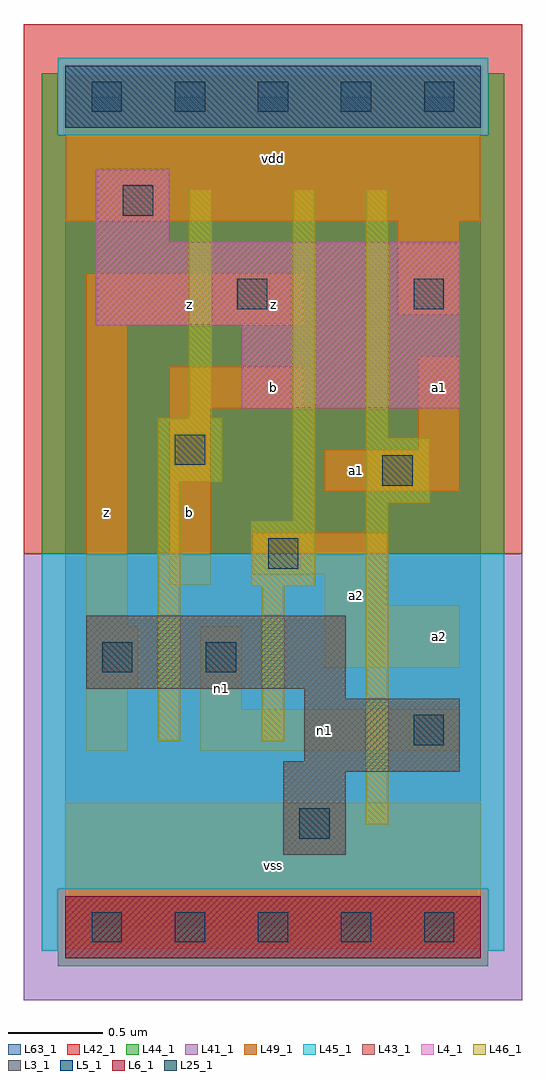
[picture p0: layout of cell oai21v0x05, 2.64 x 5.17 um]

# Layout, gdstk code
import gdstk
lib = gdstk.Library(unit=1e-6, precision=1e-09)
def R(c, l, rs):  # rectangles x0, y0, x1, y1
    for r in rs: c.add(gdstk.rectangle(r[:2], r[2:], *l))
def A(c, l, x, y, w, h, nx, ny, dx, dy):  # array of equal rectangles
    R(c, l, [(x+i*dx, y+j*dy, x+i*dx+w, y+j*dy+h) for i in range(nx) for j in range(ny)])
L3_1 = (3, 1)
L4_1 = (4, 1)
L5_1 = (5, 1)
L6_1 = (6, 1)
L25_1 = (25, 1)
L41_1 = (41, 1)
L42_1 = (42, 1)
L43_1 = (43, 1)
L44_1 = (44, 1)
L45_1 = (45, 1)
L46_1 = (46, 1)
L49_1 = (49, 1)
L63_1 = (63, 1)

oai21v0x05 = lib.new_cell('oai21v0x05')
R(oai21v0x05, L3_1, [(1.155,0.385,1.485,0.825), (1.155,0.825,2.09,0.88), (1.265,0.88,2.09,1.21), (1.265,1.21,1.485,1.265), (0.11,1.265,1.485,1.65)])
R(oai21v0x05, L4_1, [(0.935,2.75,2.09,3.19), (0.165,3.19,2.09,3.63), (0.165,3.63,0.55,4.015)])
R(oai21v0x05, L5_1, [(0,4.235,2.2,4.565)])
R(oai21v0x05, L6_1, [(0,-0.165,2.2,0.165)])
A(oai21v0x05, L25_1, 0.14, -0.08, 0.16, 0.16, 5, 2, 0.44, 4.4)
R(oai21v0x05, L25_1, [(1.24,0.47,1.4,0.63), (1.845,0.965,2.005,1.125), (0.195,1.35,0.355,1.51), (0.745,1.35,0.905,1.51), (1.075,1.9,1.235,2.06), (1.68,2.34,1.84,2.5), (0.58,2.45,0.74,2.61), (0.91,3.275,1.07,3.435), (1.845,3.275,2.005,3.435), (0.305,3.77,0.465,3.93)])
R(oai21v0x05, L41_1, [(-0.22,-0.385,2.42,1.98)])
R(oai21v0x05, L42_1, [(-0.22,1.98,2.42,4.785)])
R(oai21v0x05, L43_1, [(0,-0.165,2.2,0.165), (1.155,0.385,1.485,0.825), (1.155,0.825,2.09,0.88), (1.265,0.88,2.09,1.21), (1.265,1.21,1.485,1.265), (0.11,1.265,1.485,1.65), (0.935,2.75,2.09,3.19), (0.165,3.19,2.09,3.63), (0.165,3.63,0.55,4.015), (0,4.235,2.2,4.565)])
R(oai21v0x05, L44_1, [(-0.04,-0.205,2.24,0.205), (-0.125,1.98,2.325,4.195), (-0.125,4.195,-0.04,4.525), (2.24,4.195,2.325,4.525)])
R(oai21v0x05, L45_1, [(-0.125,-0.125,-0.04,0.205), (2.24,-0.125,2.325,0.205), (-0.125,0.205,2.325,1.98), (-0.04,4.195,2.24,4.605)])
R(oai21v0x05, L46_1, [(1.59,0.545,1.71,2.25), (0.49,0.985,0.61,2.36), (1.04,0.985,1.16,1.81), (0.985,1.81,1.325,2.15), (1.205,2.15,1.325,3.91), (1.59,2.25,1.93,2.59), (0.49,2.36,0.83,2.7), (1.59,2.59,1.71,3.91), (0.655,2.7,0.775,3.91)])
R(oai21v0x05, L49_1, [(0,-0.11,2.2,0.66), (0.11,0.935,0.33,1.265), (0.715,0.935,2.09,1.155), (0.715,1.155,0.935,1.595), (0.11,1.265,0.385,1.595), (1.375,1.375,2.09,1.705), (0.11,1.595,0.33,3.19), (1.375,1.705,1.705,1.87), (0.55,1.815,0.77,2.75), (0.99,1.87,1.705,2.09), (1.375,2.31,2.09,2.53), (1.87,2.53,2.09,3.025), (0.55,2.75,1.265,2.97), (0.11,3.19,1.265,3.465), (1.76,3.245,2.09,3.74), (0,3.74,2.2,4.51)])
R(oai21v0x05, L63_1, [(0,0,2.2,4.4)])
oai21v0x05.add(gdstk.Label('z', (0.22,2.2), layer=49, texttype=1))
oai21v0x05.add(gdstk.Label('n1', (0.825,1.265), layer=49, texttype=1))
oai21v0x05.add(gdstk.Label('b', (0.66,2.2), layer=49, texttype=1))
oai21v0x05.add(gdstk.Label('z', (0.66,3.3), layer=49, texttype=1))
oai21v0x05.add(gdstk.Label('vss', (1.1,0.33), layer=49, texttype=1))
oai21v0x05.add(gdstk.Label('a2', (1.54,1.76), layer=49, texttype=1))
oai21v0x05.add(gdstk.Label('a1', (1.54,2.42), layer=49, texttype=1))
oai21v0x05.add(gdstk.Label('b', (1.1,2.86), layer=49, texttype=1))
oai21v0x05.add(gdstk.Label('z', (1.1,3.3), layer=49, texttype=1))
oai21v0x05.add(gdstk.Label('vdd', (1.1,4.07), layer=49, texttype=1))
oai21v0x05.add(gdstk.Label('n1', (1.375,1.045), layer=49, texttype=1))
oai21v0x05.add(gdstk.Label('a2', (1.98,1.54), layer=49, texttype=1))
oai21v0x05.add(gdstk.Label('a1', (1.98,2.86), layer=49, texttype=1))

lib.write_gds('oai21v0x05.gds')
